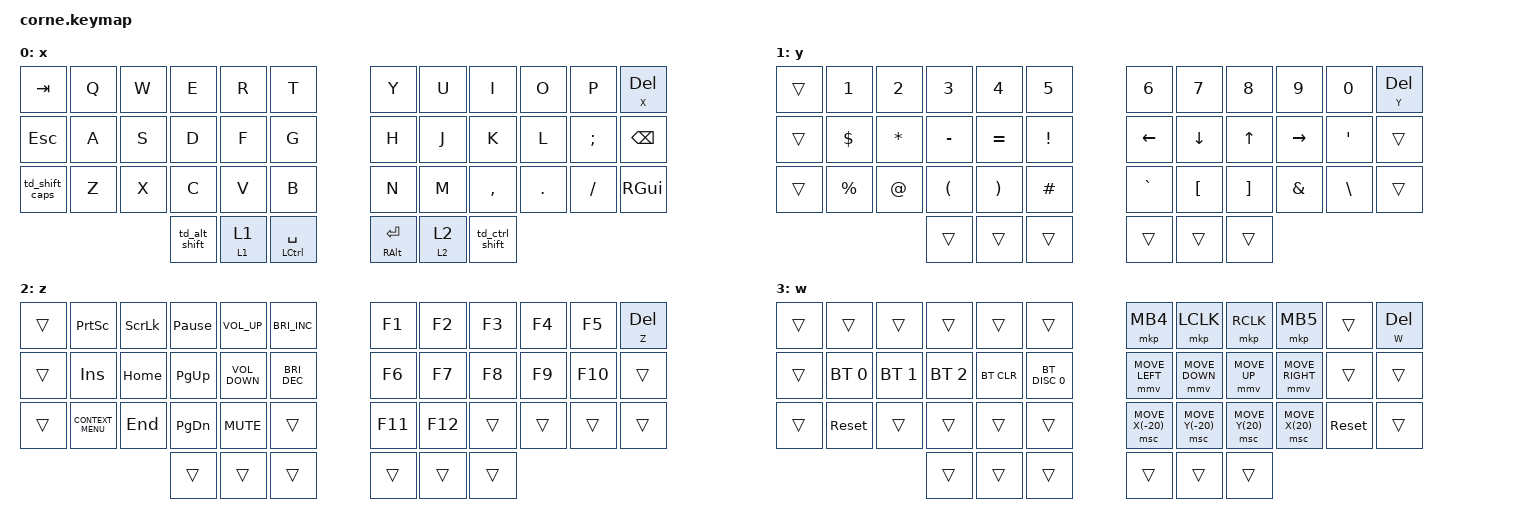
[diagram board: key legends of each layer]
/*
 * Copyright (c) 2020 The ZMK Contributors
 *
 * SPDX-License-Identifier: MIT
 */

#include <behaviors.dtsi>
#include <dt-bindings/zmk/bt.h>
#include <dt-bindings/zmk/keys.h>
#include <dt-bindings/zmk/pointing.h>

&soft_off { hold-time-ms = <3000>; };

/ {
    behaviors {
        ht_layer: ht_layer {
            compatible = "zmk,behavior-hold-tap";
            label = "HT_LAYER";
            bindings = <&mo>, <&tog>;

            #binding-cells = <2>;
            tapping-term-ms = <200>;
        };

        ht_kp: ht_kp {
            compatible = "zmk,behavior-hold-tap";
            label = "HT_KP";
            bindings = <&kp>, <&kp>;

            #binding-cells = <2>;
            tapping-term-ms = <200>;
        };

        td_shift_caps: td_shift_caps {
            compatible = "zmk,behavior-tap-dance";
            label = "TD_SHIFT_CAPS";
            #binding-cells = <0>;
            bindings = <&kp LEFT_SHIFT>, <&kp CAPS>;

            tapping-term-ms = <300>;
        };

        td_alt_shift: td_alt_shift {
            compatible = "zmk,behavior-tap-dance";
            label = "TD_ALT_SHIFT";
            #binding-cells = <0>;
            bindings = <&kp LEFT_ALT>, <&kp LSHIFT>;

            tapping-term-ms = <300>;
        };

        td_ctrl_shift: td_ctrl_shift {
            compatible = "zmk,behavior-tap-dance";
            label = "TD_CTRL_SHIFT";
            #binding-cells = <0>;
            bindings = <&kp RCTRL>, <&kp RIGHT_SHIFT>;

            tapping-term-ms = <300>;
        };
    };

    keymap {
        compatible = "zmk,keymap";

        x {
            // -----------------------------------------------------------------------------------------
            // |  TAB |  Q  |  W  |  E  |  R  |  T  |   |  Y  |  U   |  I  |  O  |  P  | BKSP |
            // | CTRL |  A  |  S  |  D  |  F  |  G  |   |  H  |  J   |  K  |  L  |  ;  |  '   |
            // | SHFT |  Z  |  X  |  C  |  V  |  B  |   |  N  |  M   |  ,  |  .  |  /  | ESC  |
            //                    | GUI | LWR | SPC |   | ENT | RSE  | ALT |

            display-name = "x";
            bindings = <
&kp TAB         &kp Q  &kp W  &kp E          &kp R          &kp T                 &kp Y                   &kp U          &kp I           &kp O    &kp P     &ht_kp X DELETE
&kp ESCAPE      &kp A  &kp S  &kp D          &kp F          &kp G                 &kp H                   &kp J          &kp K           &kp L    &kp SEMI  &kp BACKSPACE
&td_shift_caps  &kp Z  &kp X  &kp C          &kp V          &kp B                 &kp N                   &kp M          &kp COMMA       &kp DOT  &kp FSLH  &kp RGUI
                              &td_alt_shift  &ht_layer 1 1  &ht_kp LCTRL SPACE    &ht_kp RIGHT_ALT ENTER  &ht_layer 2 2  &td_ctrl_shift
            >;
        };

        y {
            // -----------------------------------------------------------------------------------------
            // |  TAB |  1  |  2  |  3  |  4  |  5  |   |  6  |  7  |  8  |  9  |  0  | BKSP |
            // | BTCLR| BT1 | BT2 | BT3 | BT4 | BT5 |   | LFT | DWN |  UP | RGT |     |      |
            // | SHFT |     |     |     |     |     |   |     |     |     |     |     |      |
            //                    | GUI |     | SPC |   | ENT |     | ALT |

            display-name = "y";
            bindings = <
&trans  &kp N1       &kp N2        &kp N3                &kp N4                 &kp N5             &kp N6     &kp N7            &kp N8             &kp N9         &kp N0         &ht_kp Y DELETE
&trans  &kp DOLLAR   &kp ASTERISK  &kp MINUS             &kp EQUAL              &kp EXCLAMATION    &kp LEFT   &kp DOWN          &kp UP             &kp RIGHT      &kp APOS       &trans
&trans  &kp PERCENT  &kp AT        &kp LEFT_PARENTHESIS  &kp RIGHT_PARENTHESIS  &kp POUND          &kp GRAVE  &kp LEFT_BRACKET  &kp RIGHT_BRACKET  &kp AMPERSAND  &kp BACKSLASH  &trans
                                   &trans                &trans                 &trans             &trans     &trans            &trans
            >;
        };

        z {
            // -----------------------------------------------------------------------------------------
            // |  TAB |  !  |  @  |  #  |  $  |  %  |   |  ^  |  &  |  *  |  (  |  )  | BKSP |
            // | CTRL |     |     |     |     |     |   |  -  |  =  |  [  |  ]  |  \  |  `   |
            // | SHFT |     |     |     |     |     |   |  _  |  +  |  {  |  }  | "|" |  ~   |
            //                    | GUI |     | SPC |   | ENT |     | ALT |

            display-name = "z";
            bindings = <
&trans  &kp PRINTSCREEN     &kp SCROLLLOCK  &kp PAUSE_BREAK  &kp C_VOLUME_UP    &kp C_BRIGHTNESS_INC    &kp F1   &kp F2   &kp F3  &kp F4  &kp F5   &ht_kp Z DELETE
&trans  &kp INS             &kp HOME        &kp PAGE_UP      &kp C_VOLUME_DOWN  &kp C_BRIGHTNESS_DEC    &kp F6   &kp F7   &kp F8  &kp F9  &kp F10  &trans
&trans  &kp K_CONTEXT_MENU  &kp END         &kp PAGE_DOWN    &kp K_MUTE         &trans                  &kp F11  &kp F12  &trans  &trans  &trans   &trans
                                            &trans           &trans             &trans                  &trans   &trans   &trans
            >;
        };

        w {
            bindings = <
&trans  &trans        &trans        &trans        &trans      &trans           &mkp MB4          &mkp LCLK         &mkp RCLK        &mkp MB5         &trans      &ht_kp W DELETE
&trans  &bt BT_SEL 0  &bt BT_SEL 1  &bt BT_SEL 2  &bt BT_CLR  &bt BT_DISC 0    &mmv MOVE_LEFT    &mmv MOVE_DOWN    &mmv MOVE_UP     &mmv MOVE_RIGHT  &trans      &trans
&trans  &sys_reset    &trans        &trans        &trans      &trans           &msc MOVE_X(-20)  &msc MOVE_Y(-20)  &msc MOVE_Y(20)  &msc MOVE_X(20)  &sys_reset  &trans
                                    &trans        &trans      &trans           &trans            &trans            &trans
            >;

            label = "w";
        };
    };

    conditional_layers {
        compatible = "zmk,conditional-layers";

        w {
            if-layers = <1 2>;
            then-layer = <3>;
        };
    };
};
